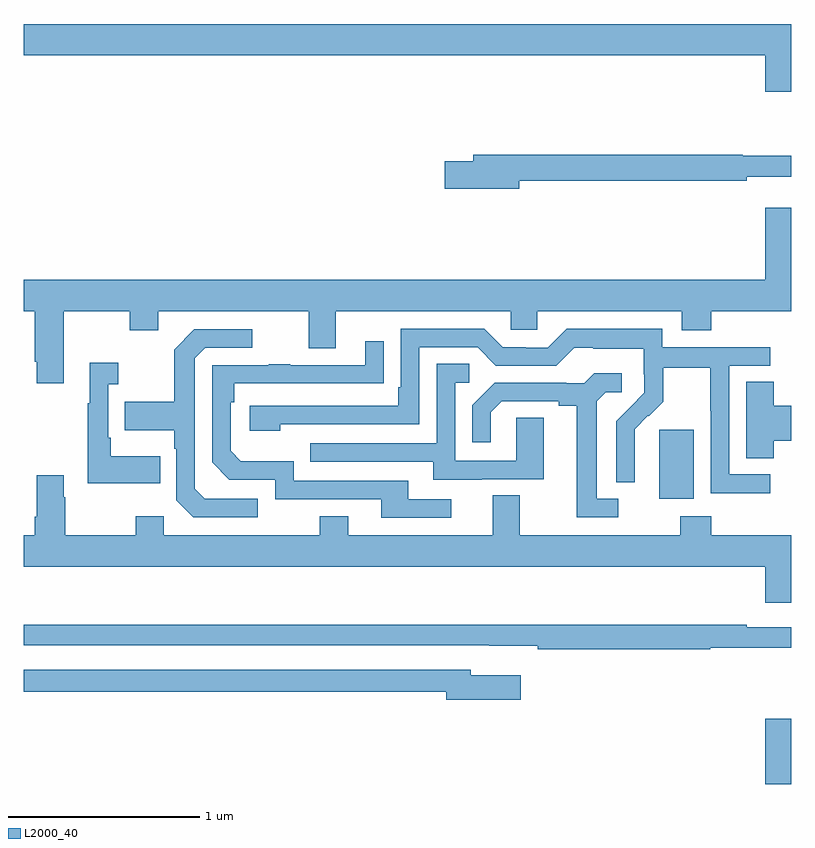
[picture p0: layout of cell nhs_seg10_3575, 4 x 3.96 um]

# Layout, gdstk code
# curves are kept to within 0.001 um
import gdstk
lib = gdstk.Library(unit=1e-6, precision=1e-09)
def R(c, l, rs):  # rectangles x0, y0, x1, y1
    for r in rs: c.add(gdstk.rectangle(r[:2], r[2:], *l))
def P(c, l, *ps):  # polygons
    for p in ps: c.add(gdstk.Polygon(p, *l))
L2000_40 = (2000, 40)

nhs_seg10_3575 = lib.new_cell('nhs_seg10_3575')
R(nhs_seg10_3575, L2000_40, [(308.864,1316.5,309,1316.839), (308.312,1317.986,308.491,1318.347)])
P(nhs_seg10_3575, L2000_40, [(309,1320.46),(305,1320.46),(305,1320.296),(308.864,1320.296),(308.864,1320.108),(309,1320.108)],
  [(307.582,1319.644),(308.768,1319.644),(308.768,1319.663),(309,1319.663),(309,1319.773),(308.747,1319.773),(308.747,1319.78),(307.343,1319.78),(307.343,1319.744),(307.194,1319.744),(307.194,1319.602),(307.582,1319.602)],
  [(305,1318.964),(305.057,1318.964),(305.057,1318.699),(305.069,1318.699),(305.069,1318.587),(305.209,1318.587),(305.209,1318.964),(305.554,1318.964),(305.554,1318.865),(305.701,1318.865),(305.701,1318.964),(306.485,1318.964),(306.485,1318.77),(306.625,1318.77),(306.625,1318.964),(307.539,1318.964),(307.539,1318.866),(307.677,1318.866),(307.677,1318.964),(308.429,1318.964),(308.429,1318.865),(308.582,1318.865),(308.582,1318.964),(309,1318.964),(309,1319.503),(308.864,1319.503),(308.864,1319.128),(305,1319.128)],
  [(308.89,1318.113),(308.676,1318.113),(308.676,1318.68),(308.89,1318.68),(308.89,1318.776),(308.328,1318.776),(308.328,1318.873),(307.831,1318.873),(307.731,1318.773),(307.616,1318.773),(307.616,1318.776),(307.497,1318.776),(307.401,1318.872),(306.966,1318.872),(306.966,1318.567),(306.953,1318.567),(306.953,1318.47),(306.177,1318.47),(306.177,1318.34),(306.338,1318.34),(306.338,1318.374),(307.062,1318.374),(307.062,1318.776),(307.365,1318.776),(307.461,1318.68),(307.776,1318.68),(307.869,1318.773),(307.969,1318.773),(307.969,1318.769),(308.232,1318.769),(308.232,1318.635),(308.234,1318.635),(308.234,1318.538),(308.088,1318.39),(308.088,1318.072),(308.184,1318.072),(308.183,1318.349),(308.253,1318.419),(308.256,1318.416),(308.333,1318.493),(308.333,1318.668),(308.578,1318.668),(308.578,1318.444),(308.58,1318.444),(308.58,1318.015),(308.89,1318.015)],
  [(306.22,1317.987),(305.943,1317.987),(305.892,1318.038),(305.892,1318.719),(305.946,1318.773),(306.19,1318.773),(306.19,1318.869),(305.889,1318.869),(305.784,1318.763),(305.784,1318.491),(305.527,1318.491),(305.527,1318.343),(305.784,1318.343),(305.784,1318.247),(305.796,1318.247),(305.796,1317.978),(305.883,1317.891),(306.22,1317.891)],
  [(307.228,1317.984),(307.003,1317.984),(307.003,1318.08),(306.408,1318.08),(306.408,1318.183),(306.131,1318.183),(306.078,1318.236),(306.078,1318.49),(306.098,1318.49),(306.098,1318.587),(306.875,1318.588),(306.875,1318.807),(306.779,1318.807),(306.779,1318.683),(306.389,1318.683),(306.389,1318.688),(306.277,1318.688),(306.277,1318.683),(305.982,1318.683),(305.982,1318.176),(306.072,1318.086),(306.312,1318.086),(306.312,1317.984),(306.863,1317.984),(306.863,1317.888),(307.228,1317.888)],
  [(305.711,1318.207),(305.455,1318.207),(305.455,1318.303),(305.442,1318.303),(305.442,1318.583),(305.494,1318.583),(305.494,1318.696),(305.345,1318.696),(305.345,1318.483),(305.334,1318.483),(305.334,1318.067),(305.711,1318.067)],
  [(307.387,1318.089),(307.711,1318.089),(307.711,1318.409),(307.566,1318.409),(307.566,1318.185),(307.248,1318.185),(307.248,1318.59),(307.321,1318.59),(307.321,1318.691),(307.152,1318.691),(307.152,1318.275),(306.493,1318.275),(306.493,1318.179),(307.133,1318.179),(307.133,1318.085),(307.387,1318.085)],
  [(308.098,1317.987),(307.987,1317.987),(307.987,1318.495),(308.034,1318.542),(308.116,1318.542),(308.116,1318.639),(307.972,1318.639),(307.92,1318.587),(307.826,1318.587),(307.826,1318.59),(307.454,1318.59),(307.338,1318.474),(307.338,1318.281),(307.435,1318.281),(307.435,1318.437),(307.492,1318.494),(307.787,1318.494),(307.787,1318.472),(307.883,1318.472),(307.883,1317.891),(308.098,1317.891)],
  [(308.909,1318.289),(309,1318.289),(309,1318.472),(308.909,1318.472),(308.909,1318.595),(308.765,1318.595),(308.765,1318.198),(308.909,1318.198)],
  [(309,1317.796),(308.582,1317.796),(308.582,1317.895),(308.422,1317.895),(308.422,1317.796),(307.585,1317.796),(307.585,1318.004),(307.445,1318.004),(307.445,1317.796),(306.691,1317.796),(306.691,1317.895),(306.544,1317.895),(306.544,1317.796),(305.73,1317.796),(305.73,1317.895),(305.584,1317.895),(305.584,1317.796),(305.217,1317.796),(305.217,1317.995),(305.209,1317.995),(305.209,1318.108),(305.069,1318.108),(305.069,1317.892),(305.057,1317.892),(305.057,1317.796),(305,1317.796),(305,1317.632),(308.864,1317.632),(308.864,1317.444),(309,1317.444)],
  [(308.578,1317.21),(309,1317.21),(309,1317.318),(308.768,1317.318),(308.768,1317.331),(305,1317.331),(305,1317.222),(307.426,1317.222),(307.426,1317.221),(307.678,1317.221),(307.678,1317.202),(308.578,1317.202)],
  [(307.591,1317.067),(307.33,1317.067),(307.33,1317.096),(305,1317.096),(305,1316.98),(307.202,1316.98),(307.202,1316.938),(307.591,1316.938)])

lib.write_gds('nhs_seg10_3575.gds')
